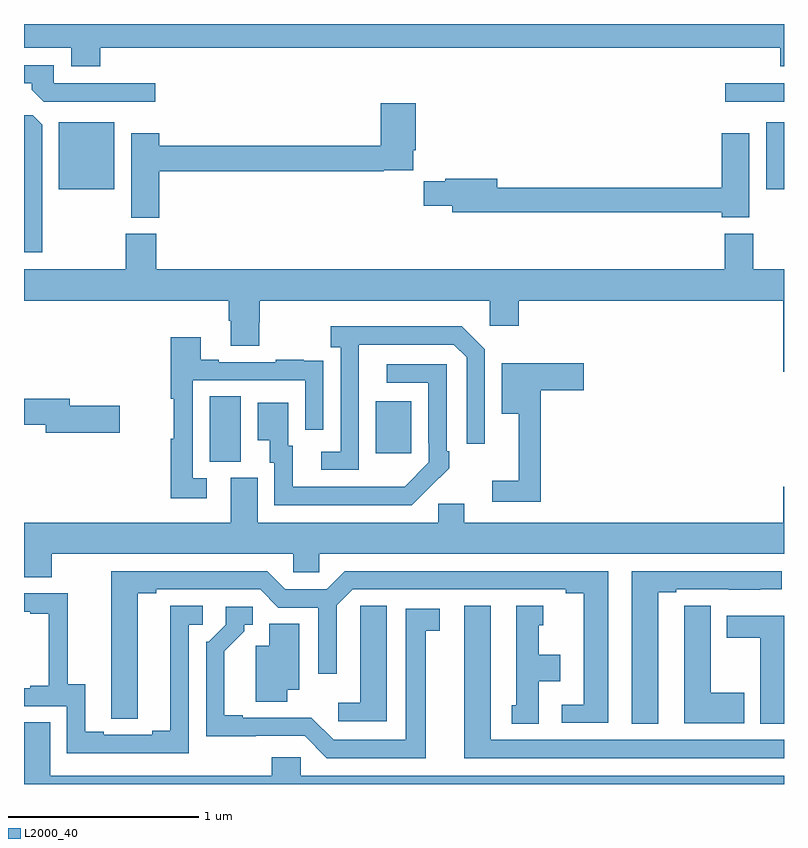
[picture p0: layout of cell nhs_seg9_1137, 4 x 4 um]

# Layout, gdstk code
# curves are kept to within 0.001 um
import gdstk
lib = gdstk.Library(unit=1e-6, precision=1e-09)
def R(c, l, rs):  # rectangles x0, y0, x1, y1
    for r in rs: c.add(gdstk.rectangle(r[:2], r[2:], *l))
def P(c, l, *ps):  # polygons
    for p in ps: c.add(gdstk.Polygon(p, *l))
L2000_40 = (2000, 40)

nhs_seg9_1137 = lib.new_cell('nhs_seg9_1137')
R(nhs_seg9_1137, L2000_40, [(173.978,1238.197,174.142,1238.54), (174.851,1238.241,175.039,1238.515), (173.183,1239.629,173.476,1239.982), (176.906,1239.629,177,1239.982), (176.691,1240.092,177,1240.188)])
P(nhs_seg9_1137, L2000_40, [(173.402,1240.376),(176.981,1240.376),(176.981,1240.277),(177,1240.277),(177,1240.5),(173,1240.5),(173,1240.376),(173.249,1240.376),(173.249,1240.277),(173.402,1240.277)],
  [(173.692,1240.188),(173.157,1240.188),(173.157,1240.284),(173,1240.284),(173,1240.188),(173.042,1240.188),(173.042,1240.154),(173.103,1240.092),(173.692,1240.092)],
  [(173.711,1239.724),(174.894,1239.724),(174.894,1239.731),(175.048,1239.731),(175.048,1239.835),(175.061,1239.835),(175.061,1240.084),(174.878,1240.084),(174.878,1239.86),(173.711,1239.86),(173.711,1239.925),(173.564,1239.925),(173.564,1239.481),(173.711,1239.481)],
  [(173.095,1239.971),(173.046,1240.02),(173,1240.02),(173,1239.299),(173.095,1239.299)],
  [(176.818,1239.925),(176.672,1239.925),(176.672,1239.638),(175.492,1239.638),(175.492,1239.686),(175.216,1239.686),(175.216,1239.673),(175.105,1239.673),(175.105,1239.544),(175.253,1239.544),(175.253,1239.51),(176.672,1239.51),(176.672,1239.482),(176.818,1239.482)],
  [(176.687,1239.397),(176.687,1239.208),(173.696,1239.208),(173.696,1239.396),(173.536,1239.396),(173.536,1239.208),(173,1239.208),(173,1239.044),(174.077,1239.044),(174.077,1238.938),(174.089,1238.938),(174.089,1238.806),(174.237,1238.806),(174.237,1238.931),(174.242,1238.931),(174.242,1239.044),(175.452,1239.044),(175.452,1238.913),(175.604,1238.913),(175.604,1239.044),(176.996,1239.044),(176.996,1238.67),(177,1238.67),(177,1239.208),(176.839,1239.208),(176.839,1239.397)],
  [(174.762,1238.611),(174.763,1238.811),(175.263,1238.811),(175.329,1238.745),(175.329,1238.292),(175.425,1238.292),(175.425,1238.787),(175.304,1238.908),(174.615,1238.908),(174.615,1238.798),(174.666,1238.798),(174.666,1238.25),(174.564,1238.25),(174.564,1238.154),(174.762,1238.154)],
  [(173.962,1238.109),(173.889,1238.109),(173.889,1238.625),(174.48,1238.625),(174.48,1238.364),(174.576,1238.364),(174.576,1238.618),(174.575,1238.618),(174.575,1238.727),(174.473,1238.727),(174.473,1238.734),(174.325,1238.734),(174.325,1238.721),(174.025,1238.721),(174.025,1238.734),(173.929,1238.734),(173.929,1238.851),(173.773,1238.851),(173.773,1238.528),(173.788,1238.528),(173.788,1238.316),(173.773,1238.316),(173.773,1238.004),(173.962,1238.004)],
  [(175.721,1238.573),(175.945,1238.573),(175.945,1238.715),(175.514,1238.715),(175.514,1238.45),(175.604,1238.45),(175.604,1238.095),(175.464,1238.095),(175.464,1237.986),(175.721,1237.986)],
  [(175.133,1238.059),(175.134,1238.058),(175.239,1238.163),(175.239,1238.251),(175.224,1238.251),(175.224,1238.709),(174.909,1238.709),(174.909,1238.613),(175.128,1238.613),(175.128,1238.293),(175.131,1238.293),(175.131,1238.193),(175.003,1238.065),(174.415,1238.064),(174.415,1238.28),(174.391,1238.28),(174.391,1238.506),(174.23,1238.506),(174.23,1238.309),(174.293,1238.309),(174.293,1238.19),(174.318,1238.19),(174.318,1237.968),(175.042,1237.968)],
  [(173.503,1238.492),(173.242,1238.492),(173.242,1238.528),(173,1238.528),(173,1238.392),(173.114,1238.392),(173.114,1238.35),(173.503,1238.35)],
  [(173.145,1237.712),(174.417,1237.712),(174.417,1237.614),(174.555,1237.614),(174.555,1237.712),(177,1237.712),(177,1238.065),(176.996,1238.065),(176.996,1237.876),(175.318,1237.876),(175.318,1237.974),(175.179,1237.974),(175.179,1237.876),(174.229,1237.876),(174.229,1238.112),(174.089,1238.112),(174.089,1237.876),(173,1237.876),(173,1237.588),(173.145,1237.588)],
  [(176.338,1237.509),(176.434,1237.509),(176.434,1237.524),(176.71,1237.524),(176.71,1237.523),(176.876,1237.523),(176.876,1237.524),(176.989,1237.524),(176.989,1237.62),(176.198,1237.62),(176.198,1236.817),(176.338,1236.817)],
  [(176.074,1237.62),(174.689,1237.62),(174.593,1237.524),(174.375,1237.524),(174.279,1237.62),(173.459,1237.62),(173.46,1236.844),(173.599,1236.844),(173.599,1237.504),(173.695,1237.504),(173.695,1237.524),(174.243,1237.524),(174.339,1237.428),(174.549,1237.428),(174.549,1237.08),(174.645,1237.08),(174.645,1237.44),(174.729,1237.524),(175.85,1237.524),(175.85,1237.504),(175.946,1237.504),(175.946,1236.918),(175.83,1236.918),(175.83,1236.822),(176.074,1236.822)],
  [(173.868,1237.338),(173.941,1237.338),(173.941,1237.439),(173.771,1237.439),(173.771,1236.779),(173.675,1236.779),(173.675,1236.759),(173.419,1236.759),(173.419,1236.774),(173.323,1236.774),(173.323,1237.025),(173.229,1237.025),(173.229,1237.503),(173,1237.503),(173,1237.407),(173.033,1237.407),(173.033,1237.395),(173.129,1237.395),(173.129,1237.018),(173.033,1237.018),(173.033,1237.005),(173,1237.005),(173,1236.909),(173.226,1236.909),(173.226,1236.663),(173.868,1236.663)],
  [(176.791,1236.981),(176.614,1236.981),(176.614,1237.439),(176.475,1237.439),(176.475,1237.331),(176.474,1237.331),(176.474,1236.821),(176.791,1236.821)],
  [(174.91,1237.439),(174.771,1237.439),(174.771,1237.331),(174.77,1237.331),(174.77,1236.928),(174.654,1236.928),(174.654,1236.831),(174.91,1236.831)],
  [(177,1236.732),(175.456,1236.732),(175.456,1237.438),(175.316,1237.438),(175.316,1236.636),(177,1236.636)],
  [(175.708,1237.04),(175.822,1237.04),(175.822,1237.18),(175.708,1237.18),(175.708,1237.335),(175.732,1237.335),(175.732,1237.438),(175.592,1237.438),(175.592,1236.915),(175.568,1236.915),(175.568,1236.817),(175.708,1236.817)],
  [(175.114,1237.306),(175.189,1237.306),(175.189,1237.422),(175.01,1237.422),(175.01,1236.732),(174.63,1236.732),(174.512,1236.85),(174.151,1236.849),(174.151,1236.862),(174.055,1236.862),(174.055,1237.198),(174.16,1237.303),(174.16,1237.338),(174.205,1237.338),(174.205,1237.434),(174.063,1237.434),(174.063,1237.338),(173.973,1237.248),(173.958,1237.248),(173.958,1236.752),(174.477,1236.753),(174.594,1236.636),(175.114,1236.636)],
  [(177,1237.386),(176.699,1237.386),(176.699,1237.27),(176.876,1237.27),(176.876,1236.817),(177,1236.817)],
  [(174.385,1236.995),(174.448,1236.995),(174.448,1237.343),(174.29,1237.343),(174.29,1237.228),(174.221,1237.228),(174.221,1236.934),(174.385,1236.934)],
  [(177,1236.544),(174.456,1236.544),(174.456,1236.642),(174.305,1236.642),(174.305,1236.544),(173.137,1236.544),(173.137,1236.824),(173,1236.824),(173,1236.5),(177,1236.5)])

lib.write_gds('nhs_seg9_1137.gds')
